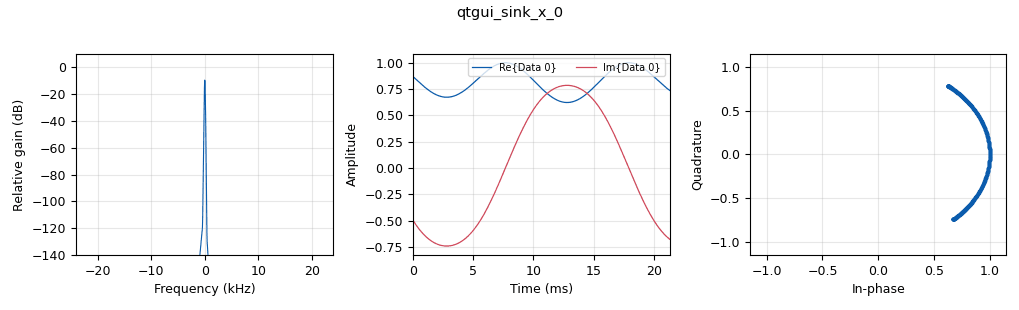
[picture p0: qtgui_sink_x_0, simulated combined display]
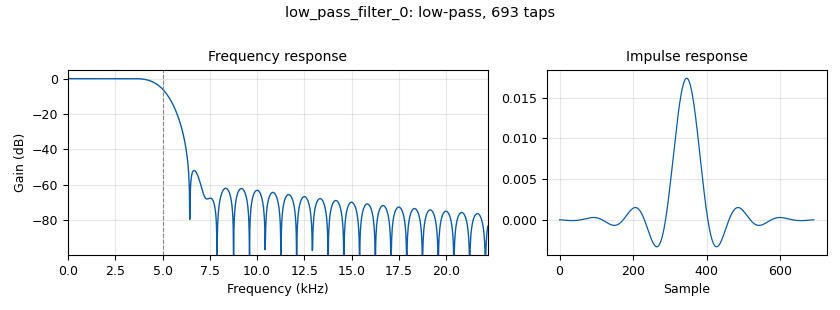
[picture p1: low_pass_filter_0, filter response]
options:
  parameters:
    author: moon
    generate_options: qt_gui
    id: Sink
    output_language: python
    title: Pluto NBFM transmit
  states: {}

blocks:
- name: audio_gain
  id: variable_qtgui_range
  parameters:
    label: Audio gain
    orient: Qt.Horizontal
    start: '0'
    step: '0.05'
    stop: '1'
    value: '0.1'
  states: {}
- name: quad_rate
  id: variable
  parameters:
    value: '576000'
  states: {}
- name: samp_rate
  id: variable
  parameters:
    value: '48000'
  states: {}
- name: analog_nbfm_tx_0
  id: analog_nbfm_tx
  parameters:
    audio_rate: samp_rate
    fh: '-1.0'
    max_dev: '5000'
    quad_rate: quad_rate
    tau: '0.000075'
  states: {}
- name: analog_sig_source_x_0
  id: analog_sig_source_x
  parameters:
    amp: '1'
    freq: '600'
    offset: '0'
    phase: '0'
    samp_rate: samp_rate
    type: float
    waveform: analog.GR_COS_WAVE
  states: {}
- name: blocks_multiply_const_vxx_0
  id: blocks_multiply_const_vxx
  parameters:
    const: audio_gain
    type: float
  states: {}
- name: iio_pluto_sink_0
  id: iio_pluto_sink
  parameters:
    attenuation1: '10.0'
    auto_filter: 'True'
    bandwidth: '200000'
    buffer_size: '16384'
    cyclic: 'False'
    frequency: '144150000'
    samplerate: quad_rate
    uri: ip:192.168.2.1
  states: {}
- name: low_pass_filter_0
  id: low_pass_filter
  parameters:
    cutoff_freq: '5000'
    decim: '1'
    gain: '1'
    samp_rate: quad_rate
    type: fir_filter_ccf
    width: '2000'
    win: firdes.WIN_HAMMING
  states: {}
- name: qtgui_sink_x_0
  id: qtgui_sink_x
  parameters:
    bw: samp_rate
    fc: '0'
    fftsize: '1024'
    type: complex
    wintype: firdes.WIN_BLACKMAN_hARRIS
  states: {}

connections:
- [analog_nbfm_tx_0, '0', low_pass_filter_0, '0']
- [analog_sig_source_x_0, '0', blocks_multiply_const_vxx_0, '0']
- [blocks_multiply_const_vxx_0, '0', analog_nbfm_tx_0, '0']
- [low_pass_filter_0, '0', iio_pluto_sink_0, '0']
- [low_pass_filter_0, '0', qtgui_sink_x_0, '0']

metadata:
  file_format: 1
